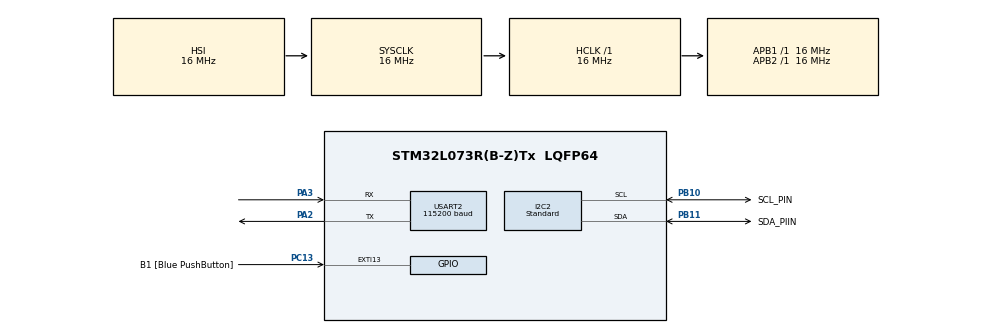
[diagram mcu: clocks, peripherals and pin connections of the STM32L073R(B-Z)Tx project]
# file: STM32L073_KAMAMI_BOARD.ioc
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I2C2.I2C_Speed_Mode=I2C_Standard
I2C2.Timing=0x00503D58
Mcu.Family=STM32L0
Mcu.Name=STM32L073R(B-Z)Tx
Mcu.Package=LQFP64
Mcu.UserConstants=T2_PRE,15839;T2_CNT,999
NVIC.EXTI4_15_IRQn=true\:0\:0\:false\:false\:true\:true\:true\:true
NVIC.I2C2_IRQn=true\:0\:0\:false\:false\:true\:true\:true\:true
NVIC.TIM2_IRQn=true\:0\:0\:false\:false\:true\:true\:true\:true
NVIC.USART2_IRQn=true\:0\:0\:false\:false\:true\:true\:true\:true
PA13.GPIO_Label=TMS
PA13.Mode=Serial_Wire
PA13.Signal=SYS_SWDIO
PA14.GPIO_Label=TCK
PA14.Mode=Serial_Wire
PA14.Signal=SYS_SWCLK
PA2.Mode=Asynchronous
PA2.Signal=USART2_TX
PA3.Mode=Asynchronous
PA3.Signal=USART2_RX
PB10.GPIO_Label=SCL_PIN
PB10.Mode=I2C
PB10.Signal=I2C2_SCL
PB11.GPIO_Label=SDA_PIIN
PB11.Mode=I2C
PB11.Signal=I2C2_SDA
PC13.GPIO_Label=B1 [Blue PushButton]
PC13.GPIO_ModeDefaultEXTI=GPIO_MODE_IT_FALLING
PC13.Signal=GPXTI13
PH0-OSC_IN.Mode=HSE-External-Oscillator
PH0-OSC_IN.Signal=RCC_OSC_IN
PH1-OSC_OUT.Mode=HSE-External-Oscillator
PH1-OSC_OUT.Signal=RCC_OSC_OUT
ProjectManager.HeapSize=0x200
ProjectManager.StackSize=0x400
ProjectManager.TargetToolchain=MDK-ARM V5.32
RCC.AHBFreq_Value=16000000
RCC.APB1Freq_Value=16000000
RCC.APB1TimFreq_Value=16000000
RCC.APB2Freq_Value=16000000
RCC.APB2TimFreq_Value=16000000
RCC.HCLKFreq_Value=16000000
RCC.HSE_VALUE=8000000
RCC.HSI16_VALUE=16000000
RCC.HSI48_VALUE=48000000
RCC.HSI_VALUE=16000000
RCC.LSE_VALUE=32768
RCC.MSI_VALUE=2097000
RCC.PLLMUL=RCC_PLLMUL_6
RCC.PLLSourceVirtual=RCC_PLLSOURCE_HSE
RCC.SYSCLKFreq_VALUE=16000000
RCC.SYSCLKSource=RCC_SYSCLKSOURCE_HSI
RCC.Usart2ClockSelection=RCC_USART2CLKSOURCE_HSI
RCC.VCOOutputFreq_Value=48000000
TIM2.Period=249
TIM2.Prescaler=15999
USART2.BaudRate=115200
USART2.OverSampling=UART_OVERSAMPLING_16
USART2.VirtualMode-Asynchronous=VM_ASYNC
VP_TIM2_VS_ClockSourceINT.Mode=Internal
board=NUCLEO-L073RZ

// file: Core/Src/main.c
/* USER CODE BEGIN Header */
/**
  ******************************************************************************
  * @file           : main.c
  * @brief          : Main program body
  ******************************************************************************
  * @attention
  *
  * Copyright (c) 2024 STMicroelectronics.
  * All rights reserved.
  *
  * This software is licensed under terms that can be found in the LICENSE file
  * in the root directory of this software component.
  * If no LICENSE file comes with this software, it is provided AS-IS.
  *
  ******************************************************************************
  */
/* USER CODE END Header */
#include "main.h"

/* USER CODE BEGIN Includes */
#include "stdint.h"
#include "u8g2.h"
#include "u8g2_stm32f4.c"
#include <stdio.h>
#include <string.h>
/* USER CODE END Includes */

I2C_HandleTypeDef hi2c2;

TIM_HandleTypeDef htim2;

UART_HandleTypeDef huart2;

void SystemClock_Config(void);
static void MX_GPIO_Init(void);
static void MX_I2C2_Init(void);
static void MX_TIM2_Init(void);
static void MX_USART2_UART_Init(void);

/* USER CODE BEGIN 0 */

//#define DEBUG

typedef struct { //Struktura saugojimui i flash atminti
  uint8_t  K1, K2;
  uint16_t MAT, OLED, PC;
  uint8_t  addr1, addr2;
} Defaults_t;

#define I2C_TIMEOUT 50

#define NUMBER_OF_CHANNELS 2 //Kiek kanalu naudojame
uint8_t INA219_1_ADDRESS = 0; //Pirmojo INA219 adresas
uint8_t INA219_2_ADDRESS = 0; //Antrojo INA219 adresas

#define CONFIG_REG      0x00 //INA219 konfiguracijos registro adresas
#define CALIBRATION_REG 0x05 //INA219 kalibracijos registro adresas
#define BUS_VOLTAGE_REG 0x02 //INA219 ismatuotos itampos registro adresas
#define CURRENT_REG     0x04 //INA219 ismatuotos sroves registro adresas

uint16_t default_PC = 0; //Kas kiek laiko siusti duomenis i PC, po mygtuko nuspaudimo (galima keisti, irasant nauja verte i flash)
uint16_t default_OLED = 0; //Kas kiek laiko siusti duomenis i OLED, po mygtuko nuspaudimo (galima keisti, irasant nauja verte i flash)
uint16_t default_MATAVIMAS = 0; //Kas kiek laiko atlikti matavimus, po mygtuko nuspaudimo (galima keisti, irasant nauja verte i flash)

uint8_t default_KIEKIS1 = 0; //Kiek kartu vidurkinant automatiskai matuoti pacio INA219 viduje, po mygtuko nuspaudimo (galima keisti, irasant nauja verte i flash)
uint8_t default_KIEKIS2 = 0;

#define TIMER_INTERRUPT_TIME 250 //Kaip daznai ivyksta laikmacio pertrauktis

#define UART_ZINUTES_ILGIS 56  //Nustato priimamos UART zinutes ilgi

uint8_t RxBuferis[UART_ZINUTES_ILGIS]; //Buferis UART zinutei

uint8_t STOP = 1; //Nurodo ar procesorius turi matuoti galias ir vykdyti programa, kai STOP = 1, programa neveikia

uint8_t PC_laikas = 0; //Nustato, kiek laikmacio petraukciu praeina, kol reikia siusti i PC
uint8_t OLED_laikas = 0; //Nustato, kiek laikmacio petraukciu praeina, kol reikia siusti i OLED
uint8_t MATAVIMO_laikas = 0; //Nustato, kiek laikmacio petraukciu praeina, kol reikia matuoti itampas ir sroves

uint8_t PC_indeksas = 0; //Seka, kiek matavimu turejo ir lygina su PC_laikas
uint8_t OLED_indeksas = 0; //Seka, kiek matavimu turejo ir lygina su OLED_laikas
uint8_t MATAVIMO_indeksas = 0; //Seka, kiek laikmacio petraukciu turejo ir lygina su MATAVIMO_laikas

uint8_t config_byte[2]; //konfiguracijos baito masyvas irasymui i INA219
uint8_t calib_byte[2]; //kalibracijos baito masyvas irasymui i INA219

float ISMATUOTA_ITAMPA_OLED[20][NUMBER_OF_CHANNELS]; //Ismatuotos itampos masyvas atvaizdavimui i OLED
float ISMATUOTA_SROVE_OLED[20][NUMBER_OF_CHANNELS]; //Ismatuotos sroves masyvas atvaizdavimui i OLED
float ISMATUOTA_ITAMPA_PC[20][NUMBER_OF_CHANNELS]; //Ismatuotos itampos masyvas atvaizdavimui i PC
float ISMATUOTA_SROVE_PC[20][NUMBER_OF_CHANNELS]; //Ismatuotos sroves masyvas atvaizdavimui i PC
double ITAMPOS_VIDURKIS_OLED[NUMBER_OF_CHANNELS] = {0}; //Itampos vidurkis atvaizdavimui i OLED
double SROVES_VIDURKIS_OLED[NUMBER_OF_CHANNELS] = {0}; //Sroves vidurkis atvaizdavimui i OLED
double ITAMPOS_VIDURKIS_PC[NUMBER_OF_CHANNELS] = {0}; //Itampos vidurkis atvaizdavimui i PC
double SROVES_VIDURKIS_PC[NUMBER_OF_CHANNELS] = {0}; //Sroves vidurkis atvaizdavimui i PC

uint8_t KIEKIS1 = 0; //Nurodo, kiek kartu automatiskai ismatuoti srove/itampa is eiles, taip sumazinant triuksma 1 kanalui
uint8_t KIEKIS2 = 0; //Nurodo, kiek kartu automatiskai ismatuoti srove/itampa is eiles, taip sumazinant triuksma 2 kanalui
uint16_t MATAVIMAS = 0; //Nurodo, kas kiek ms atlikti matavima
uint16_t OLED = 0; //Nurodo, kas kiek ms atlikti atvaizdavima OLED
uint16_t PC = 0; //Nurodo, kas kiek ms atlikti atvaizdavima PC

uint16_t bus_voltage; //Ismatuota raw verte is INA219 itampos registro
int16_t current; //Ismatuota raw verte is INA219 sroves registro

uint8_t bus_voltage_reg[2]; //Ismatuotos raw vertes is INA219 itampos registro masyvas
uint8_t current_reg[2]; //Ismatuotos raw vertes is INA219 sroves registro masyvas

uint8_t config_final[4] = {0}; //Finaline konfiguracijos verte, ji apskaiciuojama viena karta ir jos irasymas kiekviena karta paleidzia itampos ir sroves matavima

char buf[60];  //Reikalinga UART siuntimui is MV i PC
uint8_t len; //Reikalinga UART siuntimui is MV i PC

extern uint8_t u8x8_stm32_gpio_and_delay(u8x8_t *u8x8, uint8_t msg, uint8_t arg_int, void *arg_ptr); //Reikia OLED ekranui
extern uint8_t u8x8_byte_stm32_hw_i2c(u8x8_t *u8x8, uint8_t msg, uint8_t arg_int, void *arg_ptr); //Reikia OLED ekranui
static u8g2_t u8g2; //Reikia OLED ekranui

#include "stm32l0xx_hal_flash_ex.h"  // Reikalinga flash atminties rasymui
#include "string.h"

#define FLASH_USER_PAGE_ADDR   (FLASH_BASE + FLASH_SIZE - FLASH_PAGE_SIZE)

void SaveDefaultsToFlash(void) {
    FLASH_EraseInitTypeDef EraseInit = {0};
    uint32_t PageError;

    // 1) Unlock & clear flags
    HAL_FLASH_Unlock();
    HAL_UART_Transmit(&huart2, (uint8_t*)"FLASH Unlock\r\n", strlen("FLASH Unlock\r\n"), 100);
    __HAL_FLASH_CLEAR_FLAG(
        FLASH_FLAG_EOP    |
        FLASH_FLAG_WRPERR |
        FLASH_FLAG_PGAERR
    );
    HAL_UART_Transmit(&huart2, (uint8_t*)"Flags cleared\r\n", strlen("Flags cleared\r\n"), 100);

    // 2) Erase page
    EraseInit.TypeErase   = FLASH_TYPEERASE_PAGES;
    EraseInit.PageAddress = FLASH_USER_PAGE_ADDR;
    EraseInit.NbPages     = 1;
    HAL_UART_Transmit(&huart2, (uint8_t*)"Erasing page...\r\n", strlen("Erasing page...\r\n"), 100);

    if (HAL_FLASHEx_Erase(&EraseInit, &PageError) == HAL_OK) {
        HAL_UART_Transmit(&huart2, (uint8_t*)"Erase OK\r\n", strlen("Erase OK\r\n"), 100);
    } else {
        HAL_UART_Transmit(&huart2, (uint8_t*)"Erase ERR\r\n", strlen("Erase ERR\r\n"), 100);
    }

    // 3) Pack your defaults into 3 words
    uint32_t word0 =  (uint32_t)default_KIEKIS1
                    | ((uint32_t)default_KIEKIS2 << 8)
                    | ((uint32_t)default_MATAVIMAS << 16);
    uint32_t word1 =  (uint32_t)default_OLED
                    | ((uint32_t)default_PC << 16);
    uint32_t word2 =  (uint32_t)INA219_1_ADDRESS
                    | ((uint32_t)INA219_2_ADDRESS << 8);
    uint32_t addr = FLASH_USER_PAGE_ADDR;

    // 4) Program word0
    if (HAL_FLASH_Program(FLASH_TYPEPROGRAM_WORD, addr, word0) == HAL_OK) {
        HAL_UART_Transmit(&huart2, (uint8_t*)"Prog0 OK\r\n", strlen("Prog0 OK\r\n"), 100);
    } else {
        HAL_UART_Transmit(&huart2, (uint8_t*)"Prog0 ERR\r\n", strlen("Prog0 ERR\r\n"), 100);
    }

    // 5) Program word1
    if (HAL_FLASH_Program(FLASH_TYPEPROGRAM_WORD, addr + 4, word1) == HAL_OK) {
        HAL_UART_Transmit(&huart2, (uint8_t*)"Prog1 OK\r\n", strlen("Prog1 OK\r\n"), 100);
    } else {
        HAL_UART_Transmit(&huart2, (uint8_t*)"Prog1 ERR\r\n", strlen("Prog1 ERR\r\n"), 100);
    }

    // 6) Program word2
    if (HAL_FLASH_Program(FLASH_TYPEPROGRAM_WORD, addr + 8, word2) == HAL_OK) {
        HAL_UART_Transmit(&huart2, (uint8_t*)"Prog2 OK\r\n", strlen("Prog2 OK\r\n"), 100);
    } else {
        HAL_UART_Transmit(&huart2, (uint8_t*)"Prog2 ERR\r\n", strlen("Prog2 ERR\r\n"), 100);
    }

    // 7) Lock
    HAL_FLASH_Lock();
    HAL_UART_Transmit(&huart2, (uint8_t*)"FLASH Locked\r\n", strlen("FLASH Locked\r\n"), 100);
}

void LoadDefaultsFromFlash(void) { //Funkcija nuskaityti numatytiems parametrams is atminties
    uint32_t *p = (uint32_t*)FLASH_USER_PAGE_ADDR;
    uint32_t w0 = p[0], w1 = p[1], w2 = p[2];
    if ((w0|w1|w2) == 0xFFFFFFFF) return;  // blank/not programmed

    default_KIEKIS1   =  w0        & 0xFF;
    default_KIEKIS2   = (w0 >>  8) & 0xFF;
    default_MATAVIMAS = (w0 >> 16) & 0xFFFF;

    default_OLED      =  w1        & 0xFFFF;
    default_PC        = (w1 >> 16) & 0xFFFF;

    INA219_1_ADDRESS  =  w2        & 0xFF;
    INA219_2_ADDRESS  = (w2 >>  8) & 0xFF;
}

//Sukonfiguruojame INA219 pagal tai, kiek is eiles automatiniu matavimu pacio galios matuoklio viduje norime atlikti, taip pat nustatome, kad visada matuosime ir itampa ir galia
uint8_t INA219_Config(I2C_HandleTypeDef *i2cHandle, uint8_t IRENGINIO_ADRESAS, uint8_t KIEKIS, uint8_t IRENGINIO_INDEKSAS){
  /*
	BIT 15  BIT 14  BIT 13  BIT 12  BIT 11  BIT 10  BIT 9   BIT 8
	RST     X       BRNG    PG1     PG0     BADC4   BADC3   BADC2
	0	      0       1       1       1       0       0       1

	BIT 7   BIT 6   BIT 5   BIT 4   BIT 3   BIT 2   BIT 1   BIT 0
	BADC1   SADC4   SADC3   SADC2   SADC1   MODE3   MODE2   MODE1
	1	      0       0       1       1       0       1       1

  RST = 0, nes nenorime resetinti
  X = 0, nesvarbu koks
  BRNG = 1, nes norime bus voltage range kad butu iki 32V
  PG1-PG0 = 11, nes norime, kad PGA = /8, kadangi tada galesime tureti maksimalia 3,2 A srove
  BADC4-BADC1 = 0011, nes norime, kad 12 bitu skyra butu nuskaityta maitinimo itampos verte (si verte kintama)
  SADC4-SADC1 = 0011, nes norime, kad 12 bitu skyra butu nuskaityta tekancios sroves verte (si verte kintama)
  MODE3-MODE1 = 011, nes norime, kad trigger budu ismatuotu srove ir itampa (si verte kintama)
  */

	switch(KIEKIS){ //Kiek automatiniu matavimu norime atlikti
		case 1:
			config_byte[0] = 0b00111100; //bit8
			config_byte[1] = 0b01000000; //bit0
    break;
		case 2:
			config_byte[0] = 0b00111100; //bit8
      config_byte[1] = 0b11001000; //bit0
    break;
		case 4:
			config_byte[0] = 0b00111101; //bit8
      config_byte[1] = 0b01010000; //bit0
    break;
		case 8:
			config_byte[0] = 0b00111101; //bit8
      config_byte[1] = 0b11011000; //bit0
    break;
		case 16:
			config_byte[0] = 0b00111110; //bit8
      config_byte[1] = 0b01100000; //bit0
    break;
		case 32:
			config_byte[0] = 0b00111110; //bit8
      config_byte[1] = 0b11101000; //bit0
    break;
		case 64:
			config_byte[0] = 0b00111111; //bit8
      config_byte[1] = 0b01110000; //bit0
    break;
		case 128:
			config_byte[0] = 0b00111111; //bit8
      config_byte[1] = 0b11111000; //bit0
    break;
		default:
			config_byte[0] = 0b00111100; //bit8
			config_byte[1] = 0b01000000; //bit0
}
	 config_byte[1] |= 0b011; //Norime matuoti itampa ir srove

	 //Konfiguracijos irasomos i MV atminti, kadangi konfiuracijos irasymas i INA219 paleidzia matavimus
	 config_final[IRENGINIO_INDEKSAS*2] = config_byte[0]; //jei 0 indeksas, irasom i 0 ir 1 masyvo elementa
	 config_final[IRENGINIO_INDEKSAS*2+1] = config_byte[1]; // jei 1 indeksas, irasom i 2 ir 3 masyvo elementa

	return 0;
}

//Sukalibruojame INA219 pagal skaiciavimus, kadangi norime tureti maksimalia 3,2 A srove
uint8_t INA219_Calibrate(I2C_HandleTypeDef *i2cHandle, uint8_t IRENGINIO_ADRESAS){
	/*
	BIT 15  BIT 14  BIT 13  BIT 12  BIT 11  BIT 10  BIT 9   BIT 8
  FS15    FS14    FS13    FS12    FS11    FS10    FS9     FS8
  0	      0       0       1       0       0       0       0

	BIT 7   BIT 6   BIT 5   BIT 4   BIT 3   BIT 2   BIT 1   BIT 0
  FS7     FS6     FS5     FS4     FS3     FS2     FS1     FS0
  0	      0       0       0       0       0       0       0

	BIT15-BIT0 = 00010000 00000000, nes taip apskaiciavome kalibracine verte pagal srove
	*/

	calib_byte[0] = 0b00010000;
	calib_byte[1] = 0b00000000;

	if(HAL_I2C_Mem_Write(i2cHandle, (IRENGINIO_ADRESAS << 1), CALIBRATION_REG, 1, (uint8_t*)calib_byte, 2, I2C_TIMEOUT) != HAL_OK)
		return 1;

	return 0;
}

//Itampos ir sroves nuskaitymas is INA219, nurodomas I2C Handler, INA219 adresas, Indeksas (kad butu paprasciau rasyti i masyva, INA219_1 indeksas yra 0, o INA219_2 indeksas yra 1
//OLED_indeksas - indeksas, i kuri itampos ir sroves masyvo elementa irasyti ismatuota verte, PC_indeksas - indeksas, i kuri itampos ir sroves masyvo elementa irasyti ismatuota verte
uint8_t INA219_Read_Bus_Voltage_And_Current(I2C_HandleTypeDef *i2cHandle, uint8_t IRENGINIO_ADRESAS, uint8_t IRENGINIO_INDEKSAS, uint8_t OLED_indeksas, uint8_t PC_indeksas){
	// Paleidziame konversija, irasydami konfiguracija i INA219 atminti
		if(HAL_I2C_Mem_Write(i2cHandle, (IRENGINIO_ADRESAS << 1), CONFIG_REG, 1, (uint8_t*)(config_final+IRENGINIO_INDEKSAS*2), 2, I2C_TIMEOUT) != HAL_OK)
			return 1;
		bus_voltage_reg[1] = 0; //Isvalome registra, kadangi pagal ji tikrinsime ar matavimas atliktas

    //Polling metodu tikriname ar ismatavimo flag yra 1, tada reiskiasi, kad matavimas atliktas
    while (!(bus_voltage_reg[1] & (1 << 1))){
				// Nuskaitome itampos registra, kuriame ir yra READY flag
        if (HAL_I2C_Mem_Read(i2cHandle, (IRENGINIO_ADRESAS << 1), BUS_VOLTAGE_REG, 1, bus_voltage_reg, 2, I2C_TIMEOUT) != HAL_OK)
            return 1;
		}
					//Nuskaitome sroves registra
					if (HAL_I2C_Mem_Read(i2cHandle, (IRENGINIO_ADRESAS << 1), CURRENT_REG, 1, current_reg, 2, I2C_TIMEOUT) != HAL_OK)
							return 1;

					//Apskaiciuojame itampa ir pastumiame per 3 i desine, kadangi to reikalauja duomenu lapas bei yra isvalomi nereikalingi bitai, tokie kaip READY flag
					bus_voltage = (bus_voltage_reg[0] << 8) | bus_voltage_reg[1];
					bus_voltage >>= 3;
					ISMATUOTA_ITAMPA_OLED[OLED_indeksas][IRENGINIO_INDEKSAS] = bus_voltage*0.004; //Tikra itampa issaugoma OLED masyve
					ISMATUOTA_ITAMPA_PC[PC_indeksas][IRENGINIO_INDEKSAS] = ISMATUOTA_ITAMPA_OLED[OLED_indeksas][IRENGINIO_INDEKSAS]; //Tikra itampa issaugoma PC masyve

					current = (current_reg[0] << 8) | current_reg[1];
					ISMATUOTA_SROVE_OLED[OLED_indeksas][IRENGINIO_INDEKSAS] = current * 0.1; //current * 0.0001 * 1000; //Pagal calibrate verte apskaiciuojame srove ir irasome i OLED masyva
					ISMATUOTA_SROVE_PC[PC_indeksas][IRENGINIO_INDEKSAS] = ISMATUOTA_SROVE_OLED[OLED_indeksas][IRENGINIO_INDEKSAS]; //Irasome srove i PC masyva

					#ifdef DEBUG
					uint8_t len3;
					char buf3[30];
					len3 = snprintf(buf3, sizeof(buf3),
												 "V=(%.4f);I=(%.4f);\n",
												 ISMATUOTA_ITAMPA_OLED[OLED_indeksas][IRENGINIO_INDEKSAS],
												 ISMATUOTA_SROVE_OLED[OLED_indeksas][IRENGINIO_INDEKSAS]);

					HAL_UART_Transmit(&huart2, (uint8_t*)buf3, (uint16_t)len3, HAL_MAX_DELAY);
					#endif
    return 0;
}

uint8_t Dekodavimas(){ //Dekoduojame konfiguracini zodi is PC
	//          1111111111222222222233333333334444444444555555
  //01234567890123456789012345678901234567890123456789012345
	//KIEKIS1=016;KIEKIS2=128;MATAVIMAS=0250;OLED=1000;PC=2000
	//Toks zodis bus gaunamas is PC
	__HAL_TIM_DISABLE_IT(&htim2, TIM_IT_UPDATE);

	if(RxBuferis[0] == 0x53 && RxBuferis[1] == 0x54 && RxBuferis[2] == 0x4F && RxBuferis[3] == 0x50){ //Patikriname ar yra "STOP" raides
		STOP = 1;
		u8g2_ClearBuffer(&u8g2); //Isvalom ekrana
    u8g2_SendBuffer(&u8g2);

		for(int i = 0; i < UART_ZINUTES_ILGIS; i++) //Isvalome buferi
			RxBuferis[i] = 0;

	}

	//Speciali komanda irasymui i flash
	//K1=001;K2=002;M=1000;O=1000;P=2000;A1=1000000;A2=1000001
	//          1111111111222222222233333333334444444444555555
  //01234567890123456789012345678901234567890123456789012345

	else if(RxBuferis[1] == 0x31){ //Tikriname ar antras simbolis yra lygus 1, jei taip, pakeiciame numatytuosius parametrus
		default_KIEKIS1 = 100*(RxBuferis[3]-48)+10*(RxBuferis[4]-48)+(RxBuferis[5]-48);
		default_KIEKIS2 = 100*(RxBuferis[10]-48)+10*(RxBuferis[11]-48)+(RxBuferis[12]-48);
		default_MATAVIMAS = 1000*(RxBuferis[16]-48)+100*(RxBuferis[17]-48)+10*(RxBuferis[18]-48)+(RxBuferis[19]-48);
		default_OLED = 1000*(RxBuferis[23]-48)+100*(RxBuferis[24]-48)+10*(RxBuferis[25]-48)+(RxBuferis[26]-48);
		default_PC = 1000*(RxBuferis[30]-48)+100*(RxBuferis[31]-48)+10*(RxBuferis[32]-48)+(RxBuferis[33]-48);
		INA219_1_ADDRESS = 0b0000000;
		INA219_2_ADDRESS = 0b0000000;
		INA219_1_ADDRESS = 0 << 7 | (RxBuferis[38]-48) << 6 | (RxBuferis[39]-48) << 5 | (RxBuferis[40]-48) << 4 | (RxBuferis[41]-48) << 3 | (RxBuferis[42]-48) << 2 | (RxBuferis[43]-48) << 1 | (RxBuferis[44]-48);
		INA219_2_ADDRESS = 0 << 7 | (RxBuferis[49]-48) << 6 | (RxBuferis[50]-48) << 5 | (RxBuferis[51]-48) << 4 | (RxBuferis[52]-48) << 3 | (RxBuferis[53]-48) << 2 | (RxBuferis[54]-48) << 1 | (RxBuferis[55]-48);
		SaveDefaultsToFlash(); //Irasome numatytuosius parametrus i flash

		for(int i = 0; i < UART_ZINUTES_ILGIS; i++) //Isvalome buferi
			RxBuferis[i] = 0;

	}

	else if(RxBuferis[0] == 0x4B){ //Patikriname ar pradine raide yra "K"
		STOP = 0;
		//Pagal atitinkamus gauto zodzio masyvo indeksus, apskaiciuojame:
		KIEKIS1 = 100*(RxBuferis[8]-48)+10*(RxBuferis[9]-48)+(RxBuferis[10]-48);	//Kiek kartu is eiles automatiskai matuoti itampa ir srove pirmam kanalui
		KIEKIS2 = 100*(RxBuferis[20]-48)+10*(RxBuferis[21]-48)+(RxBuferis[22]-48); //Kiek kartu is eiles automatiskai matuoti itampa ir srove antram kanalui
		MATAVIMAS = 1000*(RxBuferis[34]-48)+100*(RxBuferis[35]-48)+10*(RxBuferis[36]-48)+(RxBuferis[37]-48); //Kas kiek laiko vykdomas matavimas (ms)
		OLED = 1000*(RxBuferis[44]-48)+100*(RxBuferis[45]-48)+10*(RxBuferis[46]-48)+(RxBuferis[47]-48); //Kas kiek laiko isvesti info i OLED ekrana (ms)
		PC = 1000*(RxBuferis[52]-48)+100*(RxBuferis[53]-48)+10*(RxBuferis[54]-48)+(RxBuferis[55]-48); //Kas kiek laiko isvesti info i PC (ms)

		for(int i = 0; i < UART_ZINUTES_ILGIS; i++) //Isvalome buferi
			RxBuferis[i] = 0;

		}

		__HAL_TIM_ENABLE_IT(&htim2, TIM_IT_UPDATE);

	return 0;
}

void HAL_UART_RxCpltCallback(UART_HandleTypeDef *huart){ //Pertrauktis, gaunant uzklausa is PC

    if (huart != &huart2) return;          //Ignoruoti kitus UART
		STOP = 1;
		Dekodavimas(); //Is gauto UART zodzio isskaiciuojame parametrus
		PC_laikas= PC/MATAVIMAS;
		//apskaiciuojame, kiek matavimu telpa, kol reikia siusti info i PC. Pvz.: Jei siuntimas i PC kas 2000 ms, matavimas kas 250 ms, PC_laikas= 2000 ms/250 ms = 8
		OLED_laikas = OLED/MATAVIMAS;
		//apskaiciuojame, kiek matavimu telpa, kol reikia siusti info i OLED. Pvz.: Jei siuntimas i OLED kas 2000 ms, matavimas kas 250 ms, OLED_laikas = 2000 ms/250 ms = 8
		MATAVIMO_laikas = MATAVIMAS/TIMER_INTERRUPT_TIME;
	  //apskaiciuojame, kiek laikmacio pertraukciu ivyksta, kol reikia matavimo. Pvz.: Jei matuojame kas 500 ms, o laikmatis sudirba kas 250 ms, MATAVIMO_laikas = 2

		INA219_Config(&hi2c2,INA219_1_ADDRESS, KIEKIS1, 0); //Sukonfiguruojame pirma INA219
		INA219_Config(&hi2c2,INA219_2_ADDRESS, KIEKIS2, 1); //Sukonfiguruojame antra INA219

    HAL_UART_Receive_IT(&huart2, RxBuferis, UART_ZINUTES_ILGIS); //Laukiame kitos UART pertraukties
}

void HAL_GPIO_EXTI_Callback(uint16_t GPIO_Pin) //Mygtuko pertrauktis
{
    if (GPIO_Pin == GPIO_PIN_13) {
    	if(STOP == 1){ //jeigu viskas isjungta, mygtuko paspaudimo metu irasomos default reiksmes
				HAL_NVIC_DisableIRQ(EXTI4_15_IRQn); //Atjungiam petrauktis debouncinimui, matavimo funkcijos pradzioje vel leidziamos pertrauktys

				STOP = 0;
				PC = default_PC;
				OLED = default_OLED;
				MATAVIMAS = default_MATAVIMAS;
				KIEKIS1 = default_KIEKIS1;
				KIEKIS2 = default_KIEKIS2;
				PC_laikas= PC/MATAVIMAS;
				//apskaiciuojame, kiek matavimu telpa, kol reikia siusti info i PC. Pvz.: Jei siuntimas i PC kas 2000 ms, matavimas kas 250 ms, PC_laikas= 2000 ms/250 ms = 8
				OLED_laikas = OLED/MATAVIMAS;
				//apskaiciuojame, kiek matavimu telpa, kol reikia siusti info i OLED. Pvz.: Jei siuntimas i OLED kas 2000 ms, matavimas kas 250 ms, OLED_laikas = 2000 ms/250 ms = 8
				MATAVIMO_laikas = MATAVIMAS/TIMER_INTERRUPT_TIME;
				//apskaiciuojame, kiek laikmacio pertraukciu ivyksta, kol reikia matavimo. Pvz.: Jei matuojame kas 500 ms, o laikmatis sudirba kas 250 ms, MATAVIMO_laikas = 2
				INA219_Config(&hi2c2,INA219_1_ADDRESS, KIEKIS1, 0); //Sukonfiguruojame pirma INA219
				INA219_Config(&hi2c2,INA219_2_ADDRESS, KIEKIS2, 1); //Sukonfiguruojame antra INA219
			}
			else{
				STOP = 1;
				HAL_UART_Transmit(&huart2, (uint8_t *)"Mygtukas_STOP\n", 14, HAL_MAX_DELAY); //Issiunciam pranesima apie pabaiga ir poreiki stabdyti Python programa
				u8g2_ClearBuffer(&u8g2); //Isvalom ekrana
				u8g2_SendBuffer(&u8g2);
			}
    }
}

//Laikmacio pertrauktis, is esmes pagrindine programos dalis
void HAL_TIM_PeriodElapsedCallback(TIM_HandleTypeDef *htim)
{
  //Tikrinti ar tai butent TIM2 timeris
  if (htim->Instance == TIM2)
  {
			if(RxBuferis[0] == 0x53){ //Kartais atsirasdavo S raide UART buferyje ir STOP nebudavo pamatytas
				RxBuferis[0] = 0;
				STOP = 1;
				HAL_UART_Receive_IT(&huart2, RxBuferis, UART_ZINUTES_ILGIS); //Laukiame kitos UART pertraukties
				u8g2_ClearBuffer(&u8g2); //Isvalom ekrana
				u8g2_SendBuffer(&u8g2);
			}

			PC_laikas= PC/MATAVIMAS;
			OLED_laikas = OLED/MATAVIMAS;
			MATAVIMO_laikas = MATAVIMAS/TIMER_INTERRUPT_TIME;

		//Tikriname ar galima vykdyti programa, ar bent viena konfiguracija teisinga (PC) ir ar laikas vykdyti matavima,
		// pagal tai ar praejo pakankamai laikmacio petraukciu. Tarkime, matavimai atliekami kas 1000 ms, laikmacio pertrauktis kas 250 ms,
		// tada turi praeiti 4 pertrauktys, kad butu vykdomas matavimas
    if (!STOP && PC != 0 && MATAVIMO_indeksas >= MATAVIMO_laikas)
    {
		  HAL_NVIC_EnableIRQ(EXTI4_15_IRQn); //Vel leidziame mygtuko paspaudimus
			MATAVIMO_indeksas = 1;

			#ifdef DEBUG
			HAL_UART_Transmit(&huart2, (uint8_t *)"Matavimas_start\n", 16, HAL_MAX_DELAY);
			#endif

			//Itampos ir sroves nuskaitymas is INA219, nurodomas I2C Handler, INA219 adresas, Indeksas (kad butu paprasciau rasyti i masyva, INA219_1 indeksas yra 0, o INA219_2 indeksas yra 1
      //OLED_indeksas - indeksas, i kuri itampos ir sroves masyvo elementa irasyti ismatuota verte, PC_indeksas - indeksas, i kuri itampos ir sroves masyvo elementa irasyti ismatuota verte
      INA219_Read_Bus_Voltage_And_Current(&hi2c2,INA219_1_ADDRESS, 0, OLED_indeksas, PC_indeksas);
			INA219_Read_Bus_Voltage_And_Current(&hi2c2,INA219_2_ADDRESS, 1, OLED_indeksas, PC_indeksas);

			#ifdef DEBUG
			HAL_UART_Transmit(&huart2, (uint8_t *)"Matavimas_end\n", 14, HAL_MAX_DELAY);
			#endif

			PC_indeksas++;

			if(PC_indeksas >= (PC_laikas)){ //Tikrinama ar praejo tinkamas kiekis laikmacio petraukciu

				#ifdef DEBUG
				HAL_UART_Transmit(&huart2, (uint8_t *)"Pc_start\n", 9, HAL_MAX_DELAY);
				#endif

				//Suskaiciuojamos ismatuotu verciu sumos
				for(int i = 0; i<(PC_laikas); i++){
					ITAMPOS_VIDURKIS_PC[0]+=ISMATUOTA_ITAMPA_PC[i][0];
					ITAMPOS_VIDURKIS_PC[1]+=ISMATUOTA_ITAMPA_PC[i][1];
					SROVES_VIDURKIS_PC[0]+=ISMATUOTA_SROVE_PC[i][0];
					SROVES_VIDURKIS_PC[1]+=ISMATUOTA_SROVE_PC[i][1];
				}

				//Suskaiciuojami vidurkiai
				if(ITAMPOS_VIDURKIS_PC[0] != 0)
					ITAMPOS_VIDURKIS_PC[0]/=(PC_laikas);
				if(ITAMPOS_VIDURKIS_PC[1] != 0)
					ITAMPOS_VIDURKIS_PC[1]/=(PC_laikas);
				if(SROVES_VIDURKIS_PC[0] != 0)
					SROVES_VIDURKIS_PC[0]/=(PC_laikas);
				if(SROVES_VIDURKIS_PC[1] != 0)
					SROVES_VIDURKIS_PC[1]/=(PC_laikas);

				//Sukuriamas vienas ilgas zodis, kuri siusime per UART i PC
				len = snprintf(buf, sizeof(buf),
												 "V1=(%.4f);V2=(%.4f);"
												 "I1=(%.4f);I2=(%.4f)\n",
												 ITAMPOS_VIDURKIS_PC[0],
												 ITAMPOS_VIDURKIS_PC[1],
												 SROVES_VIDURKIS_PC[0],
												 SROVES_VIDURKIS_PC[1]);

				//Siunciame zodi i PC
				HAL_UART_Transmit(&huart2, (uint8_t*)buf, (uint16_t)len, HAL_MAX_DELAY);

				PC_indeksas = 0;
				ITAMPOS_VIDURKIS_PC[0]=0;
				ITAMPOS_VIDURKIS_PC[1]=0;
				SROVES_VIDURKIS_PC[0]=0;
				SROVES_VIDURKIS_PC[1]=0;

				#ifdef DEBUG
				HAL_UART_Transmit(&huart2, (uint8_t *)"PC_end\n", 7, HAL_MAX_DELAY);
				#endif
			}

			OLED_indeksas++;

			if(OLED_indeksas >= (OLED_laikas)){ //Tikrinama ar praejo tinkamas kiekis laikmacio petraukciu
				#ifdef DEBUG
				HAL_UART_Transmit(&huart2, (uint8_t *)"Oled_start\n", 11, HAL_MAX_DELAY);
				#endif
				//Suskaiciuojamos ismatuotu verciu sumos
				for(int i = 0; i<(OLED_laikas); i++){
					ITAMPOS_VIDURKIS_OLED[0]+=ISMATUOTA_ITAMPA_OLED[i][0];
					ITAMPOS_VIDURKIS_OLED[1]+=ISMATUOTA_ITAMPA_OLED[i][1];
					SROVES_VIDURKIS_OLED[0]+=ISMATUOTA_SROVE_OLED[i][0];
					SROVES_VIDURKIS_OLED[1]+=ISMATUOTA_SROVE_OLED[i][1];
				}
				//Suskaiciuojami vidurkiai
				if(ITAMPOS_VIDURKIS_OLED[0] != 0)
					ITAMPOS_VIDURKIS_OLED[0]/=(OLED_laikas);
				if(ITAMPOS_VIDURKIS_OLED[1] != 0)
					ITAMPOS_VIDURKIS_OLED[1]/=(OLED_laikas);
				if(SROVES_VIDURKIS_OLED[0] != 0)
					SROVES_VIDURKIS_OLED[0]/=(OLED_laikas);
				if(SROVES_VIDURKIS_OLED[1] != 0)
					SROVES_VIDURKIS_OLED[1]/=(OLED_laikas);

				char oled_buf[100];
				u8g2_ClearBuffer(&u8g2);
				//Vertes siunciamos i OLED ekrana
				snprintf(oled_buf, sizeof(oled_buf), "V1=%.4f V   ", ITAMPOS_VIDURKIS_OLED[0]);
				u8g2_DrawStr(&u8g2, 10, 10, oled_buf);
				snprintf(oled_buf, sizeof(oled_buf), "V2=%.4f V   ", ITAMPOS_VIDURKIS_OLED[1]);
				u8g2_DrawStr(&u8g2, 10, 20, oled_buf);
				//Kadangi sroves gali buti neigiamos, kad nebutu sokinejimo atsiradus minusui, pridedamas tarpas
				if(SROVES_VIDURKIS_OLED[0] >= 0){
					snprintf(oled_buf, sizeof(oled_buf), "I1= %.4f mA   ", SROVES_VIDURKIS_OLED[0]); //Srove
					u8g2_DrawStr(&u8g2, 10, 30, oled_buf);

					snprintf(oled_buf, sizeof(oled_buf), "P1= %.4f mW   ", SROVES_VIDURKIS_OLED[0]*ITAMPOS_VIDURKIS_OLED[0]); //Galia
					u8g2_DrawStr(&u8g2, 10, 50, oled_buf);
				}
				else{
					snprintf(oled_buf, sizeof(oled_buf), "I1=%.4f mA   ", SROVES_VIDURKIS_OLED[0]); //Srove
					u8g2_DrawStr(&u8g2, 10, 30, oled_buf);

					snprintf(oled_buf, sizeof(oled_buf), "P1=%.4f mW   ", SROVES_VIDURKIS_OLED[0]*ITAMPOS_VIDURKIS_OLED[0]); //Galia
					u8g2_DrawStr(&u8g2, 10, 50, oled_buf);
				}
				//Kadangi sroves gali buti neigiamos, kad nebutu sokinejimo atsiradus minusui, pridedamas tarpas
				if(SROVES_VIDURKIS_OLED[1] >= 0){
					snprintf(oled_buf, sizeof(oled_buf), "I2= %.4f mA   ", SROVES_VIDURKIS_OLED[1]); //Srove
					u8g2_DrawStr(&u8g2, 10, 40, oled_buf);

					snprintf(oled_buf, sizeof(oled_buf), "P2= %.4f mW   ", SROVES_VIDURKIS_OLED[1]*ITAMPOS_VIDURKIS_OLED[1]); //Galia
					u8g2_DrawStr(&u8g2, 10, 60, oled_buf);
				}
				else{
					snprintf(oled_buf, sizeof(oled_buf), "I2=%.4f mA   ", SROVES_VIDURKIS_OLED[1]); //Srove
					u8g2_DrawStr(&u8g2, 10, 40, oled_buf);

					snprintf(oled_buf, sizeof(oled_buf), "P2=%.4f mW   ", SROVES_VIDURKIS_OLED[1]*ITAMPOS_VIDURKIS_OLED[1]); //Galia
					u8g2_DrawStr(&u8g2, 10, 60, oled_buf);
				}

				#ifdef DEBUG
					uint8_t len3;
					char buf3[80];
					len3 = snprintf(buf3, sizeof(buf3),
												 "V1=(%.4f);V2=(%.4f);I1=(%.4f);I2=(%.4f);\n",
												 ITAMPOS_VIDURKIS_OLED[0],
												 ITAMPOS_VIDURKIS_OLED[1], SROVES_VIDURKIS_OLED[0], SROVES_VIDURKIS_OLED[1]);

					HAL_UART_Transmit(&huart2, (uint8_t*)buf3, (uint16_t)len3, HAL_MAX_DELAY);
				#endif

				//Nusiunciama galutine informacija i OLED
				u8g2_SendBuffer(&u8g2);
				OLED_indeksas = 0;
				ITAMPOS_VIDURKIS_OLED[0]=0;
				ITAMPOS_VIDURKIS_OLED[1]=0;
				SROVES_VIDURKIS_OLED[0]=0;
				SROVES_VIDURKIS_OLED[1]=0;

				#ifdef DEBUG
				HAL_UART_Transmit(&huart2, (uint8_t *)"Oled_end\n", 9, HAL_MAX_DELAY);
				#endif
			}

    }
		else
			MATAVIMO_indeksas++;
  }
}

/* USER CODE END 0 */

int main(void)
{

  /* MCU Configuration--------------------------------------------------------*/

  /* Reset of all peripherals, Initializes the Flash interface and the Systick. */
  HAL_Init();

  /* USER CODE BEGIN Init */
	LoadDefaultsFromFlash(); //Nuskaitome numatytasias reiksmes is flash atminties
	PC = default_PC;
	OLED = default_OLED;
	MATAVIMAS = default_MATAVIMAS;
	KIEKIS1 = default_KIEKIS1;
	KIEKIS2 = default_KIEKIS2;
	PC_laikas= PC/MATAVIMAS;
	//apskaiciuojame, kiek matavimu telpa, kol reikia siusti info i PC. Pvz.: Jei siuntimas i PC kas 2000 ms, matavimas kas 250 ms, PC_laikas= 2000 ms/250 ms = 8
	OLED_laikas = OLED/MATAVIMAS;
	//apskaiciuojame, kiek matavimu telpa, kol reikia siusti info i OLED. Pvz.: Jei siuntimas i OLED kas 2000 ms, matavimas kas 250 ms, OLED_laikas = 2000 ms/250 ms = 8
	MATAVIMO_laikas = MATAVIMAS/TIMER_INTERRUPT_TIME;
	//apskaiciuojame, kiek laikmacio pertraukciu ivyksta, kol reikia matavimo. Pvz.: Jei matuojame kas 500 ms, o laikmatis sudirba kas 250 ms, MATAVIMO_laikas = 2
  /* USER CODE END Init */

  /* Configure the system clock */
  SystemClock_Config();

  /* Initialize all configured peripherals */
  MX_GPIO_Init();
  MX_I2C2_Init();
  MX_TIM2_Init();
  MX_USART2_UART_Init();
  /* USER CODE BEGIN 2 */
	HAL_TIM_Base_Start_IT(&htim2);

	HAL_UART_Receive_IT(&huart2, RxBuferis, UART_ZINUTES_ILGIS); //Nustatome, kad lauktu UART pertraukties is PC

	INA219_Calibrate(&hi2c2, INA219_1_ADDRESS); //Sukalibruojame pirma INA219
	INA219_Calibrate(&hi2c2, INA219_2_ADDRESS); //Sukalibruojame antra INA219

	//Kodas skirtas inicializuoti SH1106 OLED
	u8g2_Setup_sh1106_i2c_128x64_noname_f(&u8g2, U8G2_R0, u8x8_byte_stm32_hw_i2c, u8x8_stm32_gpio_and_delay);
	u8g2_InitDisplay(&u8g2);
	u8g2_SetPowerSave(&u8g2, 0);
	u8g2_ClearBuffer(&u8g2);
	u8g2_SendBuffer(&u8g2);
	u8g2_SetFont(&u8g2, u8g2_font_ncenB08_tr);

	INA219_Config(&hi2c2,INA219_1_ADDRESS, KIEKIS1, 0); //Sukonfiguruojame pirma INA219
	INA219_Config(&hi2c2,INA219_2_ADDRESS, KIEKIS2, 1); //Sukonfiguruojame antra INA219

  /* USER CODE END 2 */

  /* Infinite loop */
  while (1)
  {

  }
}

void SystemClock_Config(void)
{
  RCC_OscInitTypeDef RCC_OscInitStruct = {0};
  RCC_ClkInitTypeDef RCC_ClkInitStruct = {0};
  RCC_PeriphCLKInitTypeDef PeriphClkInit = {0};

  /** Configure the main internal regulator output voltage
  */
  __HAL_PWR_VOLTAGESCALING_CONFIG(PWR_REGULATOR_VOLTAGE_SCALE1);

  /** Initializes the RCC Oscillators according to the specified parameters
  * in the RCC_OscInitTypeDef structure.
  */
  RCC_OscInitStruct.OscillatorType = RCC_OSCILLATORTYPE_HSI;
  RCC_OscInitStruct.HSIState = RCC_HSI_ON;
  RCC_OscInitStruct.HSICalibrationValue = RCC_HSICALIBRATION_DEFAULT;
  RCC_OscInitStruct.PLL.PLLState = RCC_PLL_NONE;
  if (HAL_RCC_OscConfig(&RCC_OscInitStruct) != HAL_OK)
  {
    Error_Handler();
  }

  /** Initializes the CPU, AHB and APB buses clocks
  */
  RCC_ClkInitStruct.ClockType = RCC_CLOCKTYPE_HCLK|RCC_CLOCKTYPE_SYSCLK
                              |RCC_CLOCKTYPE_PCLK1|RCC_CLOCKTYPE_PCLK2;
  RCC_ClkInitStruct.SYSCLKSource = RCC_SYSCLKSOURCE_HSI;
  RCC_ClkInitStruct.AHBCLKDivider = RCC_SYSCLK_DIV1;
  RCC_ClkInitStruct.APB1CLKDivider = RCC_HCLK_DIV1;
  RCC_ClkInitStruct.APB2CLKDivider = RCC_HCLK_DIV1;

  if (HAL_RCC_ClockConfig(&RCC_ClkInitStruct, FLASH_LATENCY_0) != HAL_OK)
  {
    Error_Handler();
  }
  PeriphClkInit.PeriphClockSelection = RCC_PERIPHCLK_USART2;
  PeriphClkInit.Usart2ClockSelection = RCC_USART2CLKSOURCE_HSI;
  if (HAL_RCCEx_PeriphCLKConfig(&PeriphClkInit) != HAL_OK)
  {
    Error_Handler();
  }
}

static void MX_I2C2_Init(void)
{

  hi2c2.Instance = I2C2;
  hi2c2.Init.Timing = 0x00503D58;
  hi2c2.Init.OwnAddress1 = 0;
  hi2c2.Init.AddressingMode = I2C_ADDRESSINGMODE_7BIT;
  hi2c2.Init.DualAddressMode = I2C_DUALADDRESS_DISABLE;
  hi2c2.Init.OwnAddress2 = 0;
  hi2c2.Init.OwnAddress2Masks = I2C_OA2_NOMASK;
  hi2c2.Init.GeneralCallMode = I2C_GENERALCALL_DISABLE;
  hi2c2.Init.NoStretchMode = I2C_NOSTRETCH_DISABLE;
  if (HAL_I2C_Init(&hi2c2) != HAL_OK)
  {
    Error_Handler();
  }

  /** Configure Analogue filter
  */
  if (HAL_I2CEx_ConfigAnalogFilter(&hi2c2, I2C_ANALOGFILTER_ENABLE) != HAL_OK)
  {
    Error_Handler();
  }

  /** Configure Digital filter
  */
  if (HAL_I2CEx_ConfigDigitalFilter(&hi2c2, 0) != HAL_OK)
  {
    Error_Handler();
  }

}

static void MX_TIM2_Init(void)
{

  TIM_ClockConfigTypeDef sClockSourceConfig = {0};
  TIM_MasterConfigTypeDef sMasterConfig = {0};

  htim2.Instance = TIM2;
  htim2.Init.Prescaler = 15999;
  htim2.Init.CounterMode = TIM_COUNTERMODE_UP;
  htim2.Init.Period = 249;
  htim2.Init.ClockDivision = TIM_CLOCKDIVISION_DIV1;
  htim2.Init.AutoReloadPreload = TIM_AUTORELOAD_PRELOAD_DISABLE;
  if (HAL_TIM_Base_Init(&htim2) != HAL_OK)
  {
    Error_Handler();
  }
  sClockSourceConfig.ClockSource = TIM_CLOCKSOURCE_INTERNAL;
  if (HAL_TIM_ConfigClockSource(&htim2, &sClockSourceConfig) != HAL_OK)
  {
    Error_Handler();
  }
  sMasterConfig.MasterOutputTrigger = TIM_TRGO_RESET;
  sMasterConfig.MasterSlaveMode = TIM_MASTERSLAVEMODE_DISABLE;
  if (HAL_TIMEx_MasterConfigSynchronization(&htim2, &sMasterConfig) != HAL_OK)
  {
    Error_Handler();
  }

}

static void MX_USART2_UART_Init(void)
{

  huart2.Instance = USART2;
  huart2.Init.BaudRate = 115200;
  huart2.Init.WordLength = UART_WORDLENGTH_8B;
  huart2.Init.StopBits = UART_STOPBITS_1;
  huart2.Init.Parity = UART_PARITY_NONE;
  huart2.Init.Mode = UART_MODE_TX_RX;
  huart2.Init.HwFlowCtl = UART_HWCONTROL_NONE;
  huart2.Init.OverSampling = UART_OVERSAMPLING_16;
  huart2.Init.OneBitSampling = UART_ONE_BIT_SAMPLE_DISABLE;
  huart2.AdvancedInit.AdvFeatureInit = UART_ADVFEATURE_NO_INIT;
  if (HAL_UART_Init(&huart2) != HAL_OK)
  {
    Error_Handler();
  }

}

static void MX_GPIO_Init(void)
{
  GPIO_InitTypeDef GPIO_InitStruct = {0};

  /* GPIO Ports Clock Enable */
  __HAL_RCC_GPIOC_CLK_ENABLE();
  __HAL_RCC_GPIOH_CLK_ENABLE();
  __HAL_RCC_GPIOA_CLK_ENABLE();
  __HAL_RCC_GPIOB_CLK_ENABLE();

  /*Configure GPIO pin : B1_Pin */
  GPIO_InitStruct.Pin = B1_Pin;
  GPIO_InitStruct.Mode = GPIO_MODE_IT_FALLING;
  GPIO_InitStruct.Pull = GPIO_NOPULL;
  HAL_GPIO_Init(B1_GPIO_Port, &GPIO_InitStruct);

  /* EXTI interrupt init*/
  HAL_NVIC_SetPriority(EXTI4_15_IRQn, 0, 0);
  HAL_NVIC_EnableIRQ(EXTI4_15_IRQn);

}

void Error_Handler(void)
{
  __disable_irq();
  while (1)
  {
  }
}
